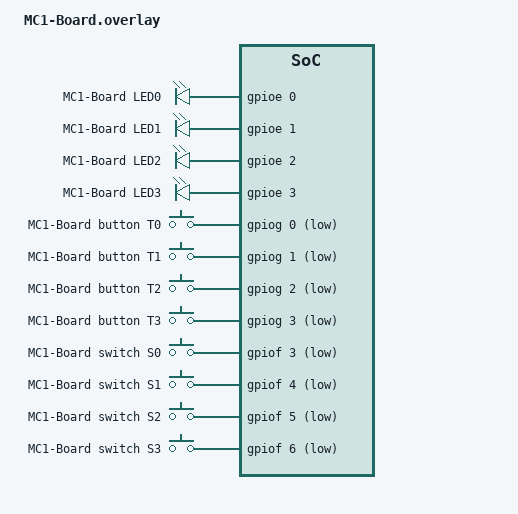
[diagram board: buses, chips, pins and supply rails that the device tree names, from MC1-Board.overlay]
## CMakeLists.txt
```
cmake_minimum_required(VERSION 3.20.0)

set(BOARD_FLASH_RUNNER "jlink")
set(BOARD "stm32f429i_disc1")

set(DTC_OVERLAY_FILE
  "MC1-Board.overlay"
)

find_package(Zephyr REQUIRED HINTS $ENV{ZEPHYR_BASE})
project(embreal_lab2)

target_sources(app PRIVATE src/main.c)
```

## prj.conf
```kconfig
CONFIG_PRINTK=y
CONFIG_GPIO=y
CONFIG_THREAD_NAME=y

CONFIG_TIMESLICING=y 
```

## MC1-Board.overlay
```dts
/ {
	leds {
		mc_led0: mc_led_0 {
			gpios = <&gpioe 0 GPIO_ACTIVE_HIGH>;
			label = "MC1-Board LED0";
		};
		mc_led1: mc_led_1 {
			gpios = <&gpioe 1 GPIO_ACTIVE_HIGH>;
			label = "MC1-Board LED1";
		};
		mc_led2: mc_led_2 {
			gpios = <&gpioe 2 GPIO_ACTIVE_HIGH>;
			label = "MC1-Board LED2";
		};
		mc_led3: mc_led_3 {
			gpios = <&gpioe 3 GPIO_ACTIVE_HIGH>;
			label = "MC1-Board LED3";
		};
	};
	gpio_keys {
		mc_t0: mc_button_0 {
			gpios = <&gpiog 0 GPIO_ACTIVE_LOW>;
			label = "MC1-Board button T0";
		};
		mc_t1: mc_button_1 {
			gpios = <&gpiog 1 GPIO_ACTIVE_LOW>;
			label = "MC1-Board button T1";
		};
		mc_t2: mc_button_2 {
			gpios = <&gpiog 2 GPIO_ACTIVE_LOW>;
			label = "MC1-Board button T2";
		};
		mc_t3: mc_button_3 {
			gpios = <&gpiog 3 GPIO_ACTIVE_LOW>;
			label = "MC1-Board button T3";
		};
		mc_s0: mc_switch_0 {
			gpios = <&gpiof 3 GPIO_ACTIVE_LOW>;
			label = "MC1-Board switch S0";
		};		
		mc_s1: mc_switch_1 {
			gpios = <&gpiof 4 GPIO_ACTIVE_LOW>;
			label = "MC1-Board switch S1";
		};
		mc_s2: mc_switch_2 {
			gpios = <&gpiof 5 GPIO_ACTIVE_LOW>;
			label = "MC1-Board switch S2";
		};
		mc_s3: mc_switch_3 {
			gpios = <&gpiof 6 GPIO_ACTIVE_LOW>;
			label = "MC1-Board switch S3";
		};
	};
};
```

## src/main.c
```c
/*******************************************************************************
 *  _____       ______   ____
 * |_   _|     |  ____|/ ____|  Institute of Embedded Systems
 *   | |  _ __ | |__  | (___    Zurich University of Applied Sciences
 *   | | | '_ \|  __|  \___ \   8401 Winterthur, Switzerland
 *  _| |_| | | | |____ ____) |
 * |_____|_| |_|______|_____/
 *
 *******************************************************************************
 *
 * Zephyr application to demonstrate threads, mutexes and semaphores.
 * Used in EmbReal Lab exercise 2.
 *
 ******************************************************************************/

#include <zephyr/device.h>
#include <zephyr/drivers/gpio.h>
#include <zephyr/zephyr.h>

/* Size of thread stack in bytes */
#define STACK_SIZE 1024

/* Thread priorities */
/* Cooperative (non-preemptible)*/
// #define PRIORITY0 -1
// #define PRIORITY1 -2
// #define PRIORITY2 -3

/* Preemptible */
#define PRIORITY0 1
#define PRIORITY1 1
#define PRIORITY2 1



#define TS_MAX_PRIO -99 // prio range from -99 to +99
#define TS_LENGTH 200   // Time slice length in ms

/* IO Config */
#define LED0_NODE DT_NODELABEL(mc_led0)
#define LED1_NODE DT_NODELABEL(mc_led1)
#define LED2_NODE DT_NODELABEL(mc_led2)

#define SLEEP_TIME_US 500000 // 0.5s

// Get spec from overlay file using node labels
static struct gpio_dt_spec led0 = GPIO_DT_SPEC_GET(LED0_NODE, gpios);
static struct gpio_dt_spec led1 = GPIO_DT_SPEC_GET(LED1_NODE, gpios);
static struct gpio_dt_spec led2 = GPIO_DT_SPEC_GET(LED2_NODE, gpios);


/* Setup Threads */
static struct k_thread thread0;
static struct k_thread thread1;
static struct k_thread thread2;

// Define memory regions to use for thread stacks
K_THREAD_STACK_DEFINE(stack0, STACK_SIZE);
K_THREAD_STACK_DEFINE(stack1, STACK_SIZE);
K_THREAD_STACK_DEFINE(stack2, STACK_SIZE);
// => syms "stack0", ..., "stack2" 

// Declarations of thread functions defined later in this file
static void blink0(void *p1, void *p2, void *p3);
static void blink1(void *p1, void *p2, void *p3);
static void blink2(void *p1, void *p2, void *p3);
static void blink(const struct gpio_dt_spec led, int sleep_time_us);

int main()
{
	printk("Program Start \n");

	// configure IO
	gpio_pin_configure_dt(&led0, GPIO_OUTPUT_INACTIVE);
	gpio_pin_configure_dt(&led1, GPIO_OUTPUT_INACTIVE);
	gpio_pin_configure_dt(&led2, GPIO_OUTPUT_INACTIVE);

	// Activate time sliceing for round robin
	k_sched_time_slice_set(TS_LENGTH, TS_MAX_PRIO); // Yields current thread after each TS_LENGTH

	// Create led blink threads
	k_thread_create(&thread0, stack0, STACK_SIZE, blink0, NULL, NULL, NULL,
	                PRIORITY0, 0, K_NO_WAIT);

	k_thread_create(&thread1, stack1, STACK_SIZE, blink1, NULL, NULL, NULL,
					PRIORITY1, 0, K_NO_WAIT);

	k_thread_create(&thread2, stack2, STACK_SIZE, blink2, NULL, NULL, NULL,
					PRIORITY2, 0, K_NO_WAIT);
	/*
	k_thread_create Parameters:
		new_thread – Pointer to uninitialized struct k_thread
		stack – Pointer to the stack space.
		stack_size – Stack size in bytes.
		entry – Thread entry function.
		p1 – 1st entry point parameter.
		p2 – 2nd entry point parameter.
		p3 – 3rd entry point parameter.
		prio – Thread priority.
		options – Thread options.
		delay – Scheduling delay, or K_NO_WAIT (for no delay).
	*/
}

/* -------------------------------------------------------------------------------
 * Thread entry functions
 * ------------------------------------------------------------------------------- */

static void blink0(void *p1, void *p2, void *p3)
{
	k_thread_name_set(NULL, "thread 0"); // for tracing and debugging (NULL -> current thread)
	blink(led0, SLEEP_TIME_US);
}

static void blink1(void *p1, void *p2, void *p3)
{
	k_thread_name_set(NULL, "thread 1"); // for tracing and debugging (NULL -> current thread)
	blink(led1, SLEEP_TIME_US);
}

static void blink2(void *p1, void *p2, void *p3)
{
	k_thread_name_set(NULL, "thread 2"); // for tracing and debugging (NULL -> current thread)
	blink(led2, SLEEP_TIME_US);
}

/** Blink LED in infinite loop */
void blink(const struct gpio_dt_spec led, int sleep_time_us)
{
	while (1) {
		// print which thread is using function
		printk("%s start \n", k_thread_name_get(k_current_get()));

		gpio_pin_toggle_dt(&led);

		k_busy_wait(sleep_time_us); // execute do nothing 
		//k_usleep(sleep_time_us); // put thread in sleep state (reschedule point)
							     // -> other threads can jump in

		printk("%s end \n", k_thread_name_get(k_current_get()));
	}
}
```
